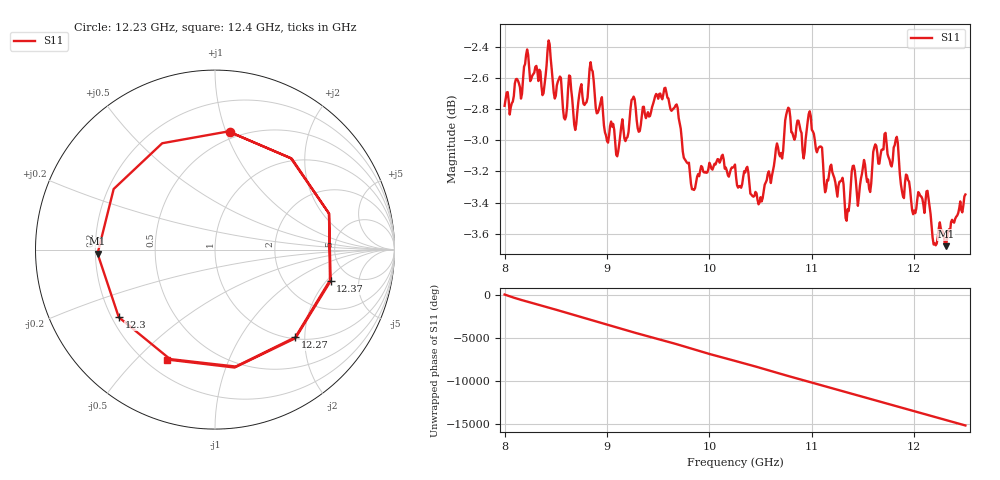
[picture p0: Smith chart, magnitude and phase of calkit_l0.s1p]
#  HZ  S  RI  R  50.00
! Rohde & Schwarz Vector Network Analyzer
! Rohde-Schwarz,ZNA43-4Port,1332450044101932,2.92
! Created: UTC 6/9/2026, 6:27:12 AM
! freq[Hz]  re:S11  im:S11
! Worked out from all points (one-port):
!   451 points, 8 GHz to 12.5 GHz, reference 50 ohm
!   lowest |S11| = -3.7 dB at 12.31 GHz (marker M1), VSWR 4.79, Z = 10.4 - j0.819 ohm
!   |S11| at or under -10 dB: nowhere
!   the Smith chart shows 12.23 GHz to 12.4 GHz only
!   S11 on the Smith chart (normalised r, x): 12.23 GHz: 0.45, +1.03; 12.27 GHz: 1.03, -1.80; 12.3 GHz: 0.23, -0.30; 12.37 GHz: 3.53, -2.22; 12.4 GHz: 0.28, -0.62
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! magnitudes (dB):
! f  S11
! 8 GHz  -2.8
! 8.21 GHz  -2.4
! 8.38 GHz  -2.7
! 8.43 GHz  -2.4
! 8.57 GHz  -2.8
! 8.69 GHz  -2.9
! 8.85 GHz  -2.5
! 8.99 GHz  -3.0
! 9.13 GHz  -3.0
! 9.25 GHz  -2.7
! 9.69 GHz  -2.8
! 9.84 GHz  -3.3
! 10.25 GHz  -3.2
! 10.5 GHz  -3.4
! 10.76 GHz  -2.8
! 10.82 GHz  -3.0
! 10.98 GHz  -2.8
! 11.14 GHz  -3.3
! 11.38 GHz  -3.3
! 11.71 GHz  -3.0
! 11.94 GHz  -3.3
! 12.23 GHz  -3.6
! 12.27 GHz  -3.6
! 12.3 GHz  -3.7
! 12.31 GHz  -3.7
! 12.37 GHz  -3.5
! 12.4 GHz  -3.5
! 12.5 GHz  -3.3
